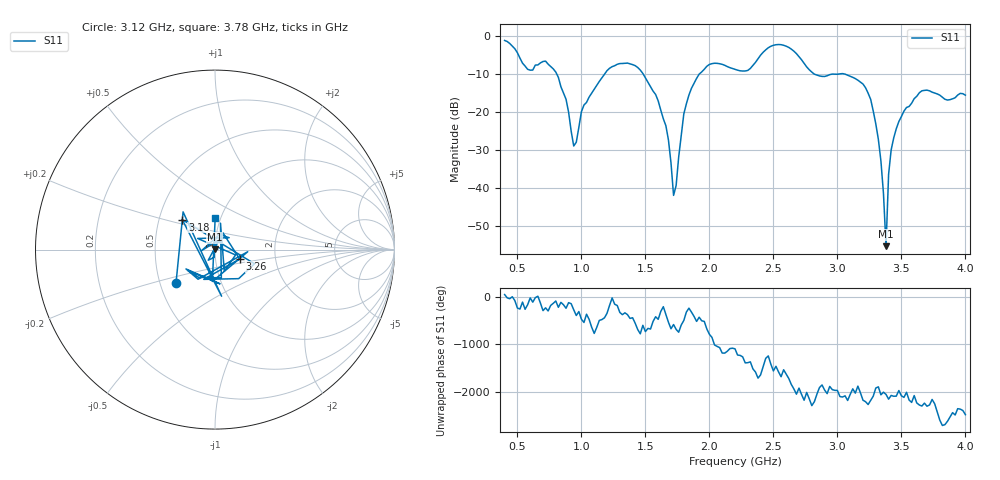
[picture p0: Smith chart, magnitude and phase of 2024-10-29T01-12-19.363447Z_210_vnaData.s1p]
!Created with skrf (http://scikit-rf.org).
# Hz S RI R 50.0
!freq ReS11 ImS11
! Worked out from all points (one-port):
!   181 points, 400 MHz to 4 GHz, reference 50 ohm
!   lowest |S11| = -55.2 dB at 3.38 GHz (marker M1), VSWR 1.00, Z = 50 + j0.169 ohm
!   |S11| at or under -10 dB: 807.3 MHz to 1.182 GHz (374.2 MHz wide, 37.6 % of centre); 1.483 GHz to 1.921 GHz (438.5 MHz wide, 25.8 % of centre); 3.056 GHz to end of sweep (the widest 3 of 4)
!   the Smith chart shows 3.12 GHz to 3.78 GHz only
!   S11 on the Smith chart (normalised r, x): 3.12 GHz: 0.61, -0.25; 3.18 GHz: 0.66, +0.23; 3.26 GHz: 1.31, -0.14; 3.78 GHz: 0.94, +0.34
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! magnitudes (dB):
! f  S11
! 400 MHz  -1.2
! 580 MHz  -8.8
! 720 MHz  -6.6
! 860 MHz  -15.0
! 940 MHz  -28.9
! 1.02 GHz  -18.1
! 1.3 GHz  -7.3
! 1.58 GHz  -15.4
! 1.68 GHz  -27.3
! 1.72 GHz  -41.9
! 1.76 GHz  -31.8
! 1.8 GHz  -20.5
! 1.92 GHz  -10.0
! 2.2 GHz  -8.8
! 2.5 GHz  -2.5
! 2.66 GHz  -4.0
! 2.82 GHz  -10.0
! 3.1 GHz  -10.6
! 3.12 GHz  -10.9
! 3.18 GHz  -12.1
! 3.26 GHz  -16.7
! 3.34 GHz  -32.8
! 3.38 GHz  -55.2
! 3.4 GHz  -36.4
! 3.42 GHz  -29.9
! 3.56 GHz  -18.5
! 3.78 GHz  -15.2
! 4 GHz  -15.6
